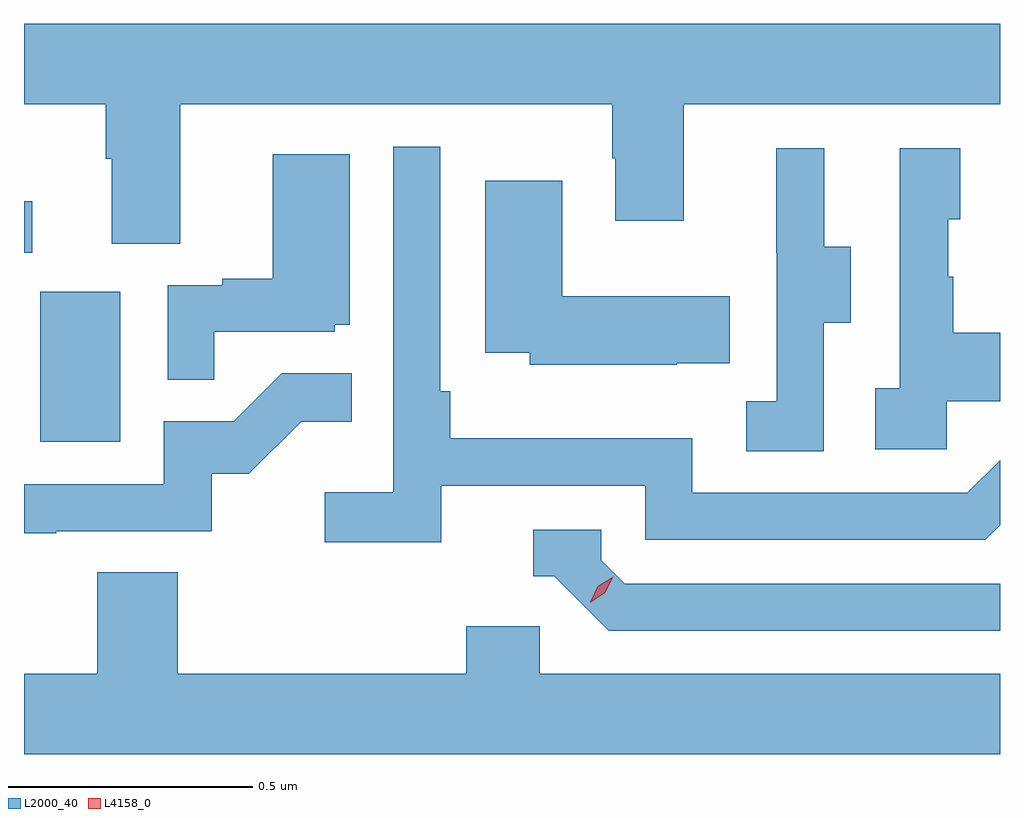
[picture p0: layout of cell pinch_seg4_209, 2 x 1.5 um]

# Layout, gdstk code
import gdstk
lib = gdstk.Library(unit=1e-6, precision=1e-09)
def R(c, l, rs):  # rectangles x0, y0, x1, y1
    for r in rs: c.add(gdstk.rectangle(r[:2], r[2:], *l))
def P(c, l, *ps):  # polygons
    for p in ps: c.add(gdstk.Polygon(p, *l))
L2000_40 = (2000, 40)
L4158_0 = (4158, 0)

pinch_seg4_209 = lib.new_cell('pinch_seg4_209')
R(pinch_seg4_209, L2000_40, [(982.058,813.444,982.222,813.751), (982.025,813.831,982.042,813.937)])
P(pinch_seg4_209, L2000_40, [(982.345,814.136),(983.23,814.136),(983.23,814.025),(983.237,814.025),(983.237,813.897),(983.377,813.897),(983.377,814.136),(984.025,814.136),(984.025,814.3),(982.025,814.3),(982.025,814.136),(982.193,814.136),(982.193,814.024),(982.205,814.024),(982.205,813.85),(982.345,813.85)],
  [(982.88,813.354),(983.298,813.354),(983.298,813.243),(983.995,813.243),(984.025,813.273),(984.025,813.406),(983.958,813.339),(983.394,813.339),(983.394,813.451),(982.898,813.451),(982.898,813.547),(982.878,813.547),(982.878,814.048),(982.782,814.048),(982.782,813.34),(982.641,813.34),(982.641,813.238),(982.88,813.238)],
  [(983.664,813.688),(983.719,813.688),(983.719,813.843),(983.665,813.843),(983.665,814.045),(983.567,814.045),(983.567,813.831),(983.568,813.831),(983.568,813.527),(983.505,813.527),(983.505,813.424),(983.664,813.424)],
  [(983.916,813.527),(984.025,813.527),(984.025,813.667),(983.929,813.667),(983.929,813.782),(983.919,813.782),(983.919,813.9),(983.944,813.9),(983.944,814.045),(983.82,814.045),(983.82,813.554),(983.769,813.554),(983.769,813.429),(983.916,813.429)],
  [(982.415,813.669),(982.662,813.669),(982.662,813.684),(982.693,813.684),(982.693,814.033),(982.535,814.033),(982.535,813.778),(982.431,813.778),(982.431,813.765),(982.32,813.765),(982.32,813.571),(982.415,813.571)],
  [(983.363,813.605),(983.471,813.605),(983.471,813.742),(983.128,813.742),(983.128,813.979),(982.97,813.979),(982.97,813.626),(983.061,813.626),(983.061,813.602),(983.363,813.602)],
  [(982.091,813.261),(982.41,813.261),(982.41,813.378),(982.486,813.378),(982.593,813.485),(982.697,813.485),(982.697,813.584),(982.553,813.584),(982.455,813.486),(982.311,813.486),(982.311,813.357),(982.025,813.357),(982.025,813.256),(982.091,813.256)],
  [(984.025,813.153),(983.256,813.153),(983.208,813.201),(983.208,813.264),(983.069,813.264),(983.069,813.168),(983.112,813.168),(983.223,813.057),(984.025,813.057)],
  [(984.025,812.968),(983.082,812.968),(983.082,813.066),(982.931,813.066),(982.931,812.968),(982.34,812.968),(982.34,813.176),(982.175,813.176),(982.175,812.968),(982.025,812.968),(982.025,812.804),(984.025,812.804)])
P(pinch_seg4_209, L4158_0, [(983.185,813.114),(983.185,813.115),(983.201,813.148),(983.232,813.167),(983.232,813.167),(983.232,813.167),(983.216,813.134),(983.185,813.114)])

lib.write_gds('pinch_seg4_209.gds')
